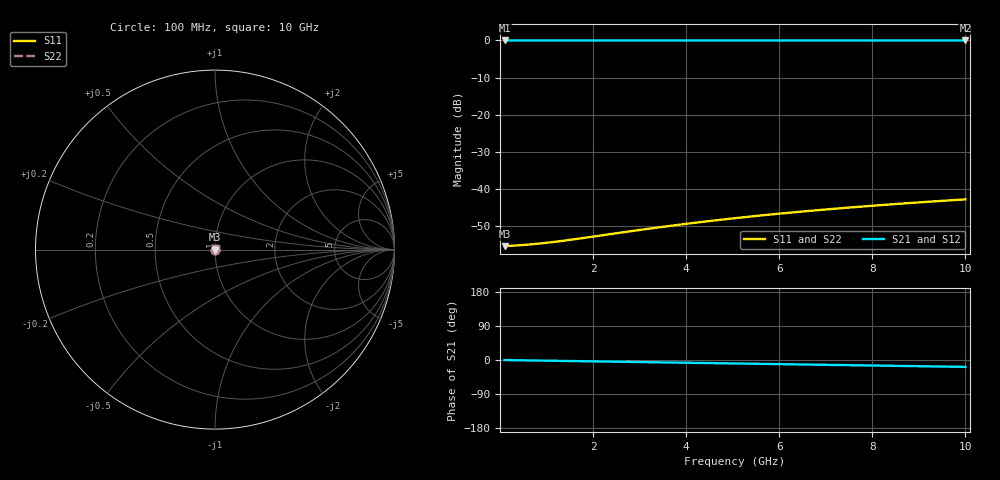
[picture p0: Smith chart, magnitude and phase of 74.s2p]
# Hz S RI R 50.00
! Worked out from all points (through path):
!   100 points, 100 MHz to 10 GHz, reference 50 ohm
!   highest |S21| = -0.01 dB at 100 MHz (marker M1); lowest = 0.0 dB at 10 GHz (marker M2)
!   group delay of S21, straight-line fit = 5.05 ps
!   lowest |S11| = -55.3 dB at 100 MHz (marker M3), VSWR 1.00, Z = 50.2 + j0.0069 ohm
!   |S11| at or under -10 dB: start of sweep to end of sweep
!   |S22| runs from -55.3 to -42.7 dB; largest |S21 - S12| = 0
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1e8  0.00171 6.87e-05  0.9983 -0.00315  0.9983 -0.00315  0.00171 6.87e-05
3e8  0.00173 0.000206  0.9982 -0.00946  0.9982 -0.00946  0.00173 0.000206
5e8  0.00174 0.000343  0.9981 -0.0158  0.9981 -0.0158  0.00174 0.000343
7e8  0.00176 0.00048  0.998 -0.0221  0.998 -0.0221  0.00176 0.00048
9e8  0.00177 0.000616  0.9978 -0.0284  0.9978 -0.0284  0.00177 0.000616
1.1e9  0.00178 0.000752  0.9976 -0.0347  0.9976 -0.0347  0.00178 0.000752
1.3e9  0.0018 0.000888  0.9974 -0.041  0.9974 -0.041  0.0018 0.000888
1.8e9  0.00184 0.00123  0.9966 -0.0568  0.9966 -0.0568  0.00184 0.00123
2.8e9  0.00195 0.00189  0.9942 -0.0882  0.9942 -0.0882  0.00195 0.00189
3.4e9  0.00204 0.00228  0.9924 -0.1071  0.9924 -0.1071  0.00204 0.00228
3.8e9  0.0021 0.00254  0.9909 -0.1197  0.9909 -0.1197  0.0021 0.00254
4.2e9  0.00217 0.0028  0.9893 -0.1322  0.9893 -0.1322  0.00217 0.0028
4.6e9  0.00225 0.00305  0.9875 -0.1447  0.9875 -0.1447  0.00225 0.00305
5.1e9  0.00236 0.00337  0.9851 -0.1604  0.9851 -0.1604  0.00236 0.00337
5.5e9  0.00245 0.00361  0.983 -0.1729  0.983 -0.1729  0.00245 0.00361
5.9e9  0.00255 0.00386  0.9807 -0.1853  0.9807 -0.1853  0.00255 0.00386
6.3e9  0.00265 0.0041  0.9782 -0.1978  0.9782 -0.1978  0.00265 0.0041
6.7e9  0.00276 0.00433  0.9756 -0.2102  0.9756 -0.2102  0.00276 0.00433
7.5e9  0.003 0.0048  0.9699 -0.2349  0.9699 -0.2349  0.003 0.0048
8.4e9  0.0033 0.00531  0.9627 -0.2626  0.9627 -0.2626  0.0033 0.00531
9.2e9  0.00359 0.00574  0.9557 -0.2871  0.9557 -0.2871  0.00359 0.00574
1e10  0.0039 0.00617  0.948 -0.3114  0.948 -0.3114  0.0039 0.00617
